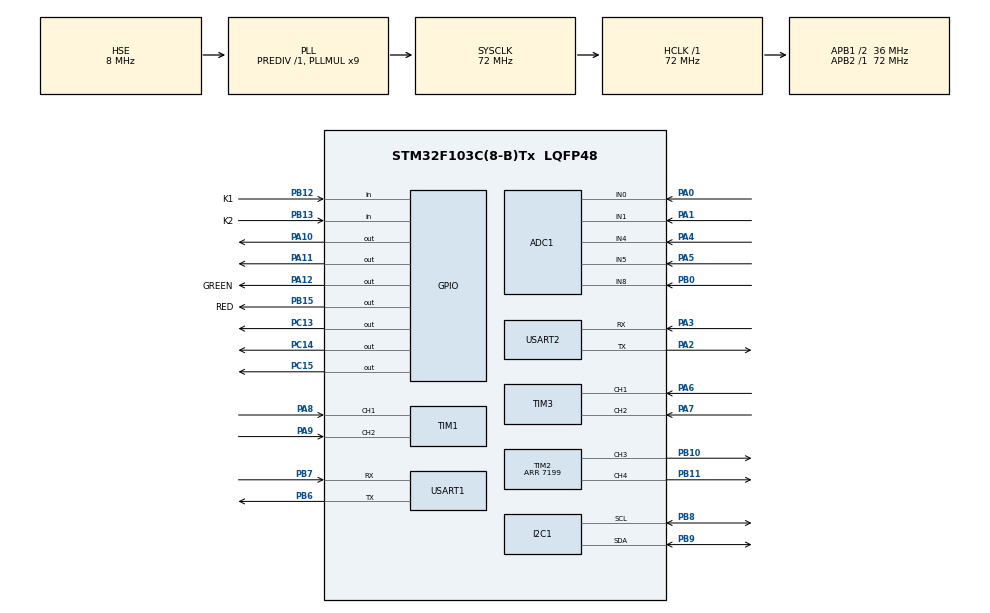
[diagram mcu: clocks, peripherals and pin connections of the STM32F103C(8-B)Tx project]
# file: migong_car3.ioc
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ADC1.Channel-0\#ChannelRegularConversion=ADC_CHANNEL_0
ADC1.NbrOfConversionFlag=1
ADC1.Rank-0\#ChannelRegularConversion=1
ADC1.SamplingTime-0\#ChannelRegularConversion=ADC_SAMPLETIME_55CYCLES_5
ADC1.master=1
Dma.Request0=USART1_RX
Dma.Request1=USART1_TX
Dma.USART1_RX.0.Direction=DMA_PERIPH_TO_MEMORY
Dma.USART1_RX.0.Instance=DMA1_Channel5
Dma.USART1_RX.0.MemDataAlignment=DMA_MDATAALIGN_BYTE
Dma.USART1_RX.0.MemInc=DMA_MINC_ENABLE
Dma.USART1_RX.0.Mode=DMA_NORMAL
Dma.USART1_RX.0.PeriphDataAlignment=DMA_PDATAALIGN_BYTE
Dma.USART1_RX.0.PeriphInc=DMA_PINC_DISABLE
Dma.USART1_RX.0.Priority=DMA_PRIORITY_MEDIUM
Dma.USART1_TX.1.Direction=DMA_MEMORY_TO_PERIPH
Dma.USART1_TX.1.Instance=DMA1_Channel4
Dma.USART1_TX.1.MemDataAlignment=DMA_MDATAALIGN_BYTE
Dma.USART1_TX.1.MemInc=DMA_MINC_ENABLE
Dma.USART1_TX.1.Mode=DMA_NORMAL
Dma.USART1_TX.1.PeriphDataAlignment=DMA_PDATAALIGN_BYTE
Dma.USART1_TX.1.PeriphInc=DMA_PINC_DISABLE
Dma.USART1_TX.1.Priority=DMA_PRIORITY_MEDIUM
I2C1.I2C_Mode=I2C_Fast
Mcu.Family=STM32F1
Mcu.Name=STM32F103C(8-B)Tx
Mcu.Package=LQFP48
NVIC.DMA1_Channel4_IRQn=true\:0\:0\:false\:false\:true\:false\:true\:true
NVIC.DMA1_Channel5_IRQn=true\:0\:0\:false\:false\:true\:false\:true\:true
NVIC.PriorityGroup=NVIC_PRIORITYGROUP_4
NVIC.TIM2_IRQn=true\:0\:0\:false\:false\:true\:true\:true\:true
NVIC.TIM4_IRQn=true\:0\:0\:false\:false\:true\:true\:true\:true
NVIC.USART1_IRQn=true\:0\:0\:false\:false\:true\:true\:true\:true
NVIC.USART2_IRQn=true\:0\:0\:false\:false\:true\:true\:true\:true
PA0-WKUP.Signal=SharedAnalog_PA0
PA1.Signal=SharedAnalog_PA1
PA10.GPIO_PuPd=GPIO_PULLUP
PA10.GPIO_Speed=GPIO_SPEED_FREQ_MEDIUM
PA10.Signal=GPIO_Output
PA11.GPIO_PuPd=GPIO_PULLUP
PA11.GPIO_Speed=GPIO_SPEED_FREQ_MEDIUM
PA11.Signal=GPIO_Output
PA12.GPIO_Label=GREEN
PA12.GPIO_PuPd=GPIO_PULLDOWN
PA12.Signal=GPIO_Output
PA13.Mode=Serial_Wire
PA13.Signal=SYS_JTMS-SWDIO
PA14.Mode=Serial_Wire
PA14.Signal=SYS_JTCK-SWCLK
PA2.Mode=Asynchronous
PA2.Signal=USART2_TX
PA3.Mode=Asynchronous
PA3.Signal=USART2_RX
PA4.Signal=SharedAnalog_PA4
PA5.Signal=SharedAnalog_PA5
PA6.Signal=S_TIM3_CH1
PA7.Signal=S_TIM3_CH2
PA8.Signal=S_TIM1_CH1
PA9.Signal=S_TIM1_CH2
PB0.Signal=SharedAnalog_PB0
PB10.Signal=S_TIM2_CH3
PB11.Signal=S_TIM2_CH4
PB12.GPIO_Label=K1
PB12.GPIO_PuPd=GPIO_PULLUP
PB12.Signal=GPIO_Input
PB13.GPIO_Label=K2
PB13.GPIO_PuPd=GPIO_PULLUP
PB13.Signal=GPIO_Input
PB15.GPIO_Label=RED
PB15.GPIO_PuPd=GPIO_PULLDOWN
PB15.Signal=GPIO_Output
PB6.Mode=Asynchronous
PB6.Signal=USART1_TX
PB7.Mode=Asynchronous
PB7.Signal=USART1_RX
PB8.Mode=I2C
PB8.Signal=I2C1_SCL
PB9.Mode=I2C
PB9.Signal=I2C1_SDA
PC13-TAMPER-RTC.GPIO_PuPd=GPIO_PULLUP
PC13-TAMPER-RTC.GPIO_Speed=GPIO_SPEED_FREQ_LOW
PC13-TAMPER-RTC.PinState=GPIO_PIN_SET
PC13-TAMPER-RTC.Signal=GPIO_Output
PC14-OSC32_IN.GPIO_PuPd=GPIO_PULLUP
PC14-OSC32_IN.GPIO_Speed=GPIO_SPEED_FREQ_MEDIUM
PC14-OSC32_IN.Signal=GPIO_Output
PC15-OSC32_OUT.GPIO_PuPd=GPIO_PULLUP
PC15-OSC32_OUT.GPIO_Speed=GPIO_SPEED_FREQ_MEDIUM
PC15-OSC32_OUT.Signal=GPIO_Output
PD0-OSC_IN.Mode=HSE-External-Oscillator
PD0-OSC_IN.Signal=RCC_OSC_IN
PD1-OSC_OUT.Mode=HSE-External-Oscillator
PD1-OSC_OUT.Signal=RCC_OSC_OUT
ProjectManager.HeapSize=0x200
ProjectManager.StackSize=0x400
ProjectManager.TargetToolchain=MDK-ARM V5.32
RCC.ADCPresc=RCC_ADCPCLK2_DIV6
RCC.AHBFreq_Value=72000000
RCC.APB1CLKDivider=RCC_HCLK_DIV2
RCC.APB1Freq_Value=36000000
RCC.APB1TimFreq_Value=72000000
RCC.APB2Freq_Value=72000000
RCC.APB2TimFreq_Value=72000000
RCC.HCLKFreq_Value=72000000
RCC.PLLMUL=RCC_PLL_MUL9
RCC.PLLSourceVirtual=RCC_PLLSOURCE_HSE
RCC.SYSCLKFreq_VALUE=72000000
RCC.SYSCLKSource=RCC_SYSCLKSOURCE_PLLCLK
RCC.USBFreq_Value=72000000
SH.S_TIM1_CH1.0=TIM1_CH1,Encoder_Interface
SH.S_TIM1_CH2.0=TIM1_CH2,Encoder_Interface
SH.S_TIM2_CH3.0=TIM2_CH3,PWM Generation3 CH3
SH.S_TIM2_CH4.0=TIM2_CH4,PWM Generation4 CH4
SH.S_TIM3_CH1.0=TIM3_CH1,Encoder_Interface
SH.S_TIM3_CH2.0=TIM3_CH2,Encoder_Interface
SH.SharedAnalog_PA0.0=GPIO_Analog
SH.SharedAnalog_PA0.1=ADC1_IN0,IN0
SH.SharedAnalog_PA1.0=GPIO_Analog
SH.SharedAnalog_PA1.1=ADC1_IN1,IN1
SH.SharedAnalog_PA4.0=GPIO_Analog
SH.SharedAnalog_PA4.1=ADC1_IN4,IN4
SH.SharedAnalog_PA5.0=GPIO_Analog
SH.SharedAnalog_PA5.1=ADC1_IN5,IN5
SH.SharedAnalog_PB0.0=GPIO_Analog
SH.SharedAnalog_PB0.1=ADC1_IN8,IN8
TIM1.AutoReloadPreload=TIM_AUTORELOAD_PRELOAD_ENABLE
TIM1.EncoderMode=TIM_ENCODERMODE_TI12
TIM2.AutoReloadPreload=TIM_AUTORELOAD_PRELOAD_ENABLE
TIM2.Channel-PWM\ Generation3\ CH3=TIM_CHANNEL_3
TIM2.Channel-PWM\ Generation4\ CH4=TIM_CHANNEL_4
TIM2.Period=7199
TIM3.AutoReloadPreload=TIM_AUTORELOAD_PRELOAD_ENABLE
TIM3.EncoderMode=TIM_ENCODERMODE_TI12
TIM4.AutoReloadPreload=TIM_AUTORELOAD_PRELOAD_ENABLE
TIM4.Period=99
TIM4.Prescaler=7199
USART1.VirtualMode=VM_ASYNC
USART2.VirtualMode=VM_ASYNC
VP_TIM2_VS_ClockSourceINT.Mode=Internal
VP_TIM4_VS_ClockSourceINT.Mode=Internal
board=custom

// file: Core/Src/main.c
/* USER CODE BEGIN Header */
/**
  ******************************************************************************
  * @file           : main.c
  * @brief          : Main program body
  ******************************************************************************
  * @attention
  *
  * Copyright (c) 2023 STMicroelectronics.
  * All rights reserved.
  *
  * This software is licensed under terms that can be found in the LICENSE file
  * in the root directory of this software component.
  * If no LICENSE file comes with this software, it is provided AS-IS.
  *
  ******************************************************************************
  */
/* USER CODE END Header */
#include "main.h"
#include "adc.h"
#include "dma.h"
#include "i2c.h"
#include "tim.h"
#include "usart.h"
#include "gpio.h"

/* USER CODE BEGIN Includes */
#include "control.h"
//#include "track.h"
//#include "bsp_oled.h"
//#include "stdio.h"
//#include "motor.h"
/* USER CODE END Includes */

/* USER CODE BEGIN PV */
int TraceDate;
/* USER CODE END PV */

void SystemClock_Config(void);

int main(void)
{

  /* MCU Configuration--------------------------------------------------------*/

  /* Reset of all peripherals, Initializes the Flash interface and the Systick. */
  HAL_Init();

  /* Configure the system clock */
  SystemClock_Config();

  /* Initialize all configured peripherals */
  MX_GPIO_Init();
  MX_DMA_Init();
  MX_ADC1_Init();
  MX_I2C1_Init();
  MX_TIM1_Init();
  MX_TIM2_Init();
  MX_TIM3_Init();
  MX_TIM4_Init();
  MX_USART1_UART_Init();
  MX_USART2_UART_Init();
  /* USER CODE BEGIN 2 */

	OLED_Init();
	OLED_DisplayTurn(0);
	Motor_Init();
	Encoder_Init();
	PID_Init();
	Track_Init();
	Param_Init();
//	Straight_Trail_Init();
	Straight_Trail_Dis_Init();
//	Set_PWM(720, 0);
	HAL_UART_Receive_IT(&huart2,&rec,1);
  /* USER CODE END 2 */

  /* Infinite loop */
  /* USER CODE BEGIN WHILE */
  while (1)
  {
		OLED_Proc();
		Vofa_Proc();
		Key_Proc();
//		GetParament();

		TraceDate = GetTraceDate();
		Car_State_Machine();
    /* USER CODE END WHILE */

  }
}

void SystemClock_Config(void)
{
  RCC_OscInitTypeDef RCC_OscInitStruct = {0};
  RCC_ClkInitTypeDef RCC_ClkInitStruct = {0};
  RCC_PeriphCLKInitTypeDef PeriphClkInit = {0};

  /** Initializes the RCC Oscillators according to the specified parameters
  * in the RCC_OscInitTypeDef structure.
  */
  RCC_OscInitStruct.OscillatorType = RCC_OSCILLATORTYPE_HSE;
  RCC_OscInitStruct.HSEState = RCC_HSE_ON;
  RCC_OscInitStruct.HSEPredivValue = RCC_HSE_PREDIV_DIV1;
  RCC_OscInitStruct.HSIState = RCC_HSI_ON;
  RCC_OscInitStruct.PLL.PLLState = RCC_PLL_ON;
  RCC_OscInitStruct.PLL.PLLSource = RCC_PLLSOURCE_HSE;
  RCC_OscInitStruct.PLL.PLLMUL = RCC_PLL_MUL9;
  if (HAL_RCC_OscConfig(&RCC_OscInitStruct) != HAL_OK)
  {
    Error_Handler();
  }

  /** Initializes the CPU, AHB and APB buses clocks
  */
  RCC_ClkInitStruct.ClockType = RCC_CLOCKTYPE_HCLK|RCC_CLOCKTYPE_SYSCLK
                              |RCC_CLOCKTYPE_PCLK1|RCC_CLOCKTYPE_PCLK2;
  RCC_ClkInitStruct.SYSCLKSource = RCC_SYSCLKSOURCE_PLLCLK;
  RCC_ClkInitStruct.AHBCLKDivider = RCC_SYSCLK_DIV1;
  RCC_ClkInitStruct.APB1CLKDivider = RCC_HCLK_DIV2;
  RCC_ClkInitStruct.APB2CLKDivider = RCC_HCLK_DIV1;

  if (HAL_RCC_ClockConfig(&RCC_ClkInitStruct, FLASH_LATENCY_2) != HAL_OK)
  {
    Error_Handler();
  }
  PeriphClkInit.PeriphClockSelection = RCC_PERIPHCLK_ADC;
  PeriphClkInit.AdcClockSelection = RCC_ADCPCLK2_DIV6;
  if (HAL_RCCEx_PeriphCLKConfig(&PeriphClkInit) != HAL_OK)
  {
    Error_Handler();
  }
}

void Error_Handler(void)
{
  __disable_irq();
  while (1)
  {
  }
}
